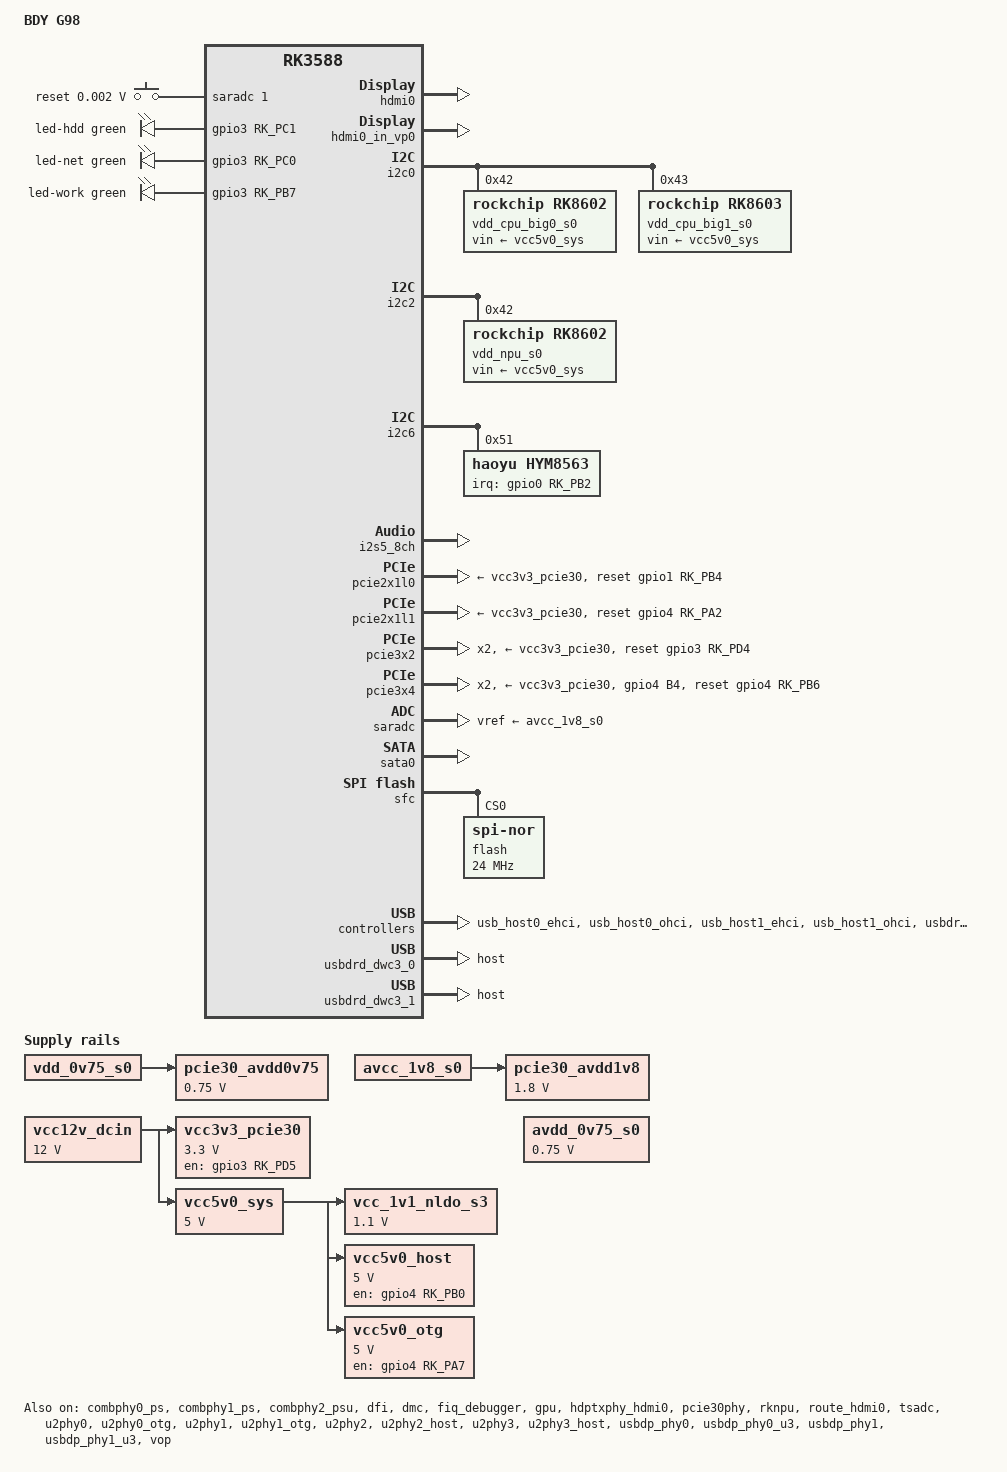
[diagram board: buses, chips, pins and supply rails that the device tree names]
// SPDX-License-Identifier: (GPL-2.0+ OR MIT)

/dts-v1/;

#include <dt-bindings/gpio/gpio.h>
#include <dt-bindings/input/input.h>
#include <dt-bindings/interrupt-controller/irq.h>
#include <dt-bindings/leds/common.h>
#include <dt-bindings/phy/phy-snps-pcie3.h>
#include <dt-bindings/pinctrl/rockchip.h>
#include "rk3588.dtsi"
#include "rk3588-rk806-single.dtsi"
#include "rk3588-linux.dtsi"

/ {
	model = "BDY G98";
	compatible = "bdy,g98", "rockchip,rk3588";

	/delete-node/ chosen;

	aliases {
		usbdp0 = &usbdp_phy0;
	};

	adc-keys {
		compatible = "adc-keys";
		io-channels = <&saradc 1>;
		io-channel-names = "buttons";
		keyup-threshold-microvolt = <1800000>;
		poll-interval = <100>;

		button-reset {
			label = "reset";
			linux,code = <KEY_RESTART>;
			press-threshold-microvolt = <1750>;
		};
	};

	hdmi0_sound: hdmi0-sound {
		compatible = "rockchip,hdmi";
		rockchip,card-name = "rockchip-hdmi0";
		rockchip,mclk-fs = <128>;
		rockchip,cpu = <&i2s5_8ch>;
		rockchip,codec = <&hdmi0>;
		rockchip,jack-det;
		status = "okay";
	};

	leds {
		compatible = "gpio-leds";

		led-hdd {
			color = <LED_COLOR_ID_GREEN>;
			default-state = "off";
			function = LED_FUNCTION_DISK;
			gpios = <&gpio3 RK_PC1 GPIO_ACTIVE_HIGH>;
		};

		led-net {
			color = <LED_COLOR_ID_GREEN>;
			default-state = "off";
			function = LED_FUNCTION_LAN;
			gpios = <&gpio3 RK_PC0 GPIO_ACTIVE_HIGH>;
		};

		led-work {
			color = <LED_COLOR_ID_GREEN>;
			function = LED_FUNCTION_HEARTBEAT;
			gpios = <&gpio3 RK_PB7 GPIO_ACTIVE_HIGH>;
			linux,default-trigger = "heartbeat";
		};
	};

	pcie30_avdd0v75: regulator-pcie30-avdd0v75 {
		compatible = "regulator-fixed";
		regulator-name = "pcie30_avdd0v75";
		regulator-always-on;
		regulator-boot-on;
		regulator-min-microvolt = <750000>;
		regulator-max-microvolt = <750000>;
		vin-supply = <&vdd_0v75_s0>;
	};

	pcie30_avdd1v8: regulator-pcie30-avdd1v8 {
		compatible = "regulator-fixed";
		regulator-name = "pcie30_avdd1v8";
		regulator-always-on;
		regulator-boot-on;
		regulator-min-microvolt = <1800000>;
		regulator-max-microvolt = <1800000>;
		vin-supply = <&avcc_1v8_s0>;
	};

	vcc_1v1_nldo_s3: regulator-vcc-1v1-nldo-s3 {
		compatible = "regulator-fixed";
		regulator-name = "vcc_1v1_nldo_s3";
		regulator-always-on;
		regulator-boot-on;
		regulator-min-microvolt = <1100000>;
		regulator-max-microvolt = <1100000>;
		vin-supply = <&vcc5v0_sys>;
	};

	vcc12v_dcin: regulator-vcc12v-dcin {
		compatible = "regulator-fixed";
		regulator-name = "vcc12v_dcin";
		regulator-always-on;
		regulator-boot-on;
		regulator-min-microvolt = <12000000>;
		regulator-max-microvolt = <12000000>;
	};

	vcc3v3_pcie30: regulator-vcc3v3-pcie30 {
		compatible = "regulator-fixed";
		regulator-name = "vcc3v3_pcie30";
		regulator-min-microvolt = <3300000>;
		regulator-max-microvolt = <3300000>;
		enable-active-high;
		gpio = <&gpio3 RK_PD5 GPIO_ACTIVE_HIGH>;
		pinctrl-names = "default";
		pinctrl-0 = <&pcie30_power_en>;
		startup-delay-us = <7500>;
		vin-supply = <&vcc12v_dcin>;
	};

	vcc5v0_host: regulator-vcc5v0-host {
		compatible = "regulator-fixed";
		regulator-name = "vcc5v0_host";
		regulator-always-on;
		regulator-boot-on;
		regulator-min-microvolt = <5000000>;
		regulator-max-microvolt = <5000000>;
		enable-active-high;
		gpio = <&gpio4 RK_PB0 GPIO_ACTIVE_HIGH>;
		pinctrl-names = "default";
		pinctrl-0 = <&vcc5v0_host_en>;
		vin-supply = <&vcc5v0_sys>;
	};

	vcc5v0_otg: regulator-vcc5v0-otg {
		compatible = "regulator-fixed";
		regulator-name = "vcc5v0_otg";
		regulator-min-microvolt = <5000000>;
		regulator-max-microvolt = <5000000>;
		enable-active-high;
		gpio = <&gpio4 RK_PA7 GPIO_ACTIVE_HIGH>;
		pinctrl-names = "default";
		pinctrl-0 = <&vcc5v0_otg_en>;
		vin-supply = <&vcc5v0_sys>;
	};

	vcc5v0_sys: regulator-vcc5v0-sys {
		compatible = "regulator-fixed";
		regulator-name = "vcc5v0_sys";
		regulator-always-on;
		regulator-boot-on;
		regulator-min-microvolt = <5000000>;
		regulator-max-microvolt = <5000000>;
		vin-supply = <&vcc12v_dcin>;
	};
};

&{/aliases} {
	/delete-property/ mmc0;
	/delete-property/ mmc1;
	/delete-property/ mmc2;
};

&{/reserved-memory/cma} {
	alloc-ranges = <0x1 0x00000000 0x3 0x00000000>;
	size = <0x0 0x20000000>;
};

&avdd_0v75_s0 {
	regulator-min-microvolt = <750000>;
	regulator-max-microvolt = <750000>;
};

&combphy0_ps {
	status = "okay";
};

&combphy1_ps {
	status = "okay";
};

&combphy2_psu {
	status = "okay";
};

&cpu_b0 {
	cpu-supply = <&vdd_cpu_big0_s0>;
	mem-supply = <&vdd_cpu_big0_mem_s0>;
};

&cpu_b2 {
	cpu-supply = <&vdd_cpu_big1_s0>;
	mem-supply = <&vdd_cpu_big1_mem_s0>;
};

&cpu_l0 {
	cpu-supply = <&vdd_cpu_lit_s0>;
	mem-supply = <&vdd_cpu_lit_mem_s0>;
};

&dfi {
	status = "okay";
};

&dmc {
	center-supply = <&vdd_ddr_s0>;
	mem-supply = <&vdd_log_s0>;
	status = "okay";
};

&fiq_debugger {
	status = "okay";
};

&gmac0 {
	status = "disabled";
};

&gmac1 {
	status = "disabled";
};

&gpu {
	mali-supply = <&vdd_gpu_s0>;
	mem-supply = <&vdd_gpu_mem_s0>;
	status = "okay";
};

&hdmi0 {
	cec-enable = "true";
	enable-gpios = <&gpio4 RK_PB1 GPIO_ACTIVE_HIGH>;
	status = "okay";
};

&hdmi0_in_vp0 {
	status = "okay";
};

&hdmi0_in_vp1 {
	status = "disabled";
};

&hdmi0_in_vp2 {
	status = "disabled";
};

&hdptxphy_hdmi0 {
	status = "okay";
};

&i2c0 {
	pinctrl-names = "default";
	pinctrl-0 = <&i2c0m2_xfer>;
	status = "okay";

	vdd_cpu_big0_s0: vdd_cpu_big0_mem_s0: rk8602@42 {
		compatible = "rockchip,rk8602";
		reg = <0x42>;
		vin-supply = <&vcc5v0_sys>;
		regulator-compatible = "rk860x-reg";
		regulator-name = "vdd_cpu_big0_s0";
		regulator-min-microvolt = <550000>;
		regulator-max-microvolt = <1050000>;
		regulator-ramp-delay = <2300>;
		rockchip,suspend-voltage-selector = <1>;
		regulator-always-on;
		regulator-boot-on;

		regulator-state-mem {
			regulator-off-in-suspend;
		};
	};

	vdd_cpu_big1_s0: vdd_cpu_big1_mem_s0: rk8603@43 {
		compatible = "rockchip,rk8603";
		reg = <0x43>;
		vin-supply = <&vcc5v0_sys>;
		regulator-compatible = "rk860x-reg";
		regulator-name = "vdd_cpu_big1_s0";
		regulator-min-microvolt = <550000>;
		regulator-max-microvolt = <1050000>;
		regulator-ramp-delay = <2300>;
		rockchip,suspend-voltage-selector = <1>;
		regulator-always-on;
		regulator-boot-on;

		regulator-state-mem {
			regulator-off-in-suspend;
		};
	};
};

&i2c2 {
	pinctrl-names = "default";
	pinctrl-0 = <&i2c2m0_xfer>;
	status = "okay";

	vdd_npu_s0: vdd_npu_mem_s0: rk8602@42 {
		compatible = "rockchip,rk8602";
		reg = <0x42>;
		vin-supply = <&vcc5v0_sys>;
		regulator-compatible = "rk860x-reg";
		regulator-name = "vdd_npu_s0";
		regulator-min-microvolt = <550000>;
		regulator-max-microvolt = <950000>;
		regulator-ramp-delay = <2300>;
		rockchip,suspend-voltage-selector = <1>;
		regulator-always-on;
		regulator-boot-on;

		regulator-state-mem {
			regulator-off-in-suspend;
		};
	};
};

&i2c6 {
	status = "okay";

	hym8563: rtc@51 {
		compatible = "haoyu,hym8563";
		reg = <0x51>;
		interrupt-parent = <&gpio0>;
		interrupts = <RK_PB2 IRQ_TYPE_LEVEL_LOW>;
		#clock-cells = <0>;
		clock-output-names = "hym8563";
		pinctrl-names = "default";
		pinctrl-0 = <&hym8563_int>;
		wakeup-source;
	};
};

&i2s5_8ch {
	status = "okay";
};

&mdio0 {
	status = "disabled";
};

&mdio1 {
	status = "disabled";
};

&pcie2x1l0 {
	reset-gpios = <&gpio1 RK_PB4 GPIO_ACTIVE_HIGH>;
	vpcie3v3-supply = <&vcc3v3_pcie30>;
	status = "okay";
};

&pcie2x1l1 {
	reset-gpios = <&gpio4 RK_PA2 GPIO_ACTIVE_HIGH>;
	vpcie3v3-supply = <&vcc3v3_pcie30>;
	status = "okay";
};

&pcie30phy {
	data-lanes = <1 1 2 2>;
	rockchip,pcie30-phymode = <PHY_MODE_PCIE_NANBNB>;
	status = "okay";
};

&pcie3x2 {
	num-lanes = <2>;
	reset-gpios = <&gpio3 RK_PD4 GPIO_ACTIVE_HIGH>;
	vpcie3v3-supply = <&vcc3v3_pcie30>;
	status = "okay";
};

&pcie3x4 {
	num-lanes = <2>;
	pinctrl-names = "default";
	pinctrl-0 = <&pcie30_clkreqn>;
	reset-gpios = <&gpio4 RK_PB6 GPIO_ACTIVE_HIGH>;
	vpcie3v3-supply = <&vcc3v3_pcie30>;
	status = "okay";
};

&pinctrl {
	pcie {
		pcie30_clkreqn: pcie30-clkreqn {
			rockchip,pins = <4 RK_PB4 RK_FUNC_GPIO &pcfg_pull_down>;
		};

		pcie30_power_en: pcie30-power-en {
			rockchip,pins = <3 RK_PD5 RK_FUNC_GPIO &pcfg_pull_down>;
		};
	};

	rtc {
		hym8563_int: hym8563-int {
			rockchip,pins = <0 RK_PB2 RK_FUNC_GPIO &pcfg_pull_up>;
		};
	};

	usb {
		vcc5v0_host_en: vcc5v0-host-en {
			rockchip,pins = <4 RK_PB0 RK_FUNC_GPIO &pcfg_pull_none>;
		};

		vcc5v0_otg_en: vcc5v0-otg-en {
			rockchip,pins = <4 RK_PA7 RK_FUNC_GPIO &pcfg_pull_none>;
		};
	};
};

&rknpu {
	mem-supply = <&vdd_npu_mem_s0>;
	rknpu-supply = <&vdd_npu_s0>;
	status = "okay";
};

&rknpu_mmu {
	status = "okay";
};

&route_hdmi0 {
	status = "okay";
};

&saradc {
	vref-supply = <&avcc_1v8_s0>;
	status = "okay";
};

&sata0 {
	status = "okay";
};

&sdhci {
	bus-width = <8>;
	mmc-hs400-1_8v;
	mmc-hs400-enhanced-strobe;
	no-sd;
	no-sdio;
	non-removable;
	status = "disabled";
};

&sfc {
	assigned-clocks = <&cru SCLK_SFC>;
	assigned-clock-rates = <24000000>;
	pinctrl-names = "default";
	pinctrl-0 = <&fspim0_pins>;
	status = "okay";

	flash@0 {
		compatible = "jedec,spi-nor";
		reg = <0>;
		spi-max-frequency = <24000000>;
		spi-rx-bus-width = <4>;
		spi-tx-bus-width = <1>;
		broken-flash-reset;
	};
};

&tsadc {
	status = "okay";
};

&u2phy0 {
	status = "okay";
};

&u2phy0_otg {
	phy-supply = <&vcc5v0_otg>;
	status = "okay";
};

&u2phy1 {
	status = "okay";
};

&u2phy1_otg {
	phy-supply = <&vcc5v0_host>;
	status = "okay";
};

&u2phy2 {
	status = "okay";
};

&u2phy2_host {
	phy-supply = <&vcc5v0_host>;
	status = "okay";
};

&u2phy3 {
	status = "okay";
};

&u2phy3_host {
	phy-supply = <&vcc5v0_host>;
	status = "okay";
};

&uart2 {
	status = "disabled";
};

&usb_host0_ehci {
	status = "okay";
};

&usb_host0_ohci {
	status = "okay";
};

&usb_host1_ehci {
	status = "okay";
};

&usb_host1_ohci {
	status = "okay";
};

&usbdrd3_0 {
	status = "okay";
};

&usbdrd3_1 {
	status = "okay";
};

&usbdrd_dwc3_0 {
	dr_mode = "host";
	maximum-speed = "super-speed";
	status = "okay";
};

&usbdrd_dwc3_1 {
	dr_mode = "host";
	maximum-speed = "super-speed";
	status = "okay";
};

&usbdp_phy0 {
	rockchip,dp-lane-mux = <2 3>;
	status = "okay";
};

&usbdp_phy0_u3 {
	status = "okay";
};

&usbdp_phy1 {
	rockchip,dp-lane-mux = <2 3>;
	status = "okay";
};

&usbdp_phy1_u3 {
	status = "okay";
};

&vdd_log_s0 {
	regulator-max-microvolt = <750000>;
};

&vop {
	vop-supply = <&vdd_log_s0>;
	status = "okay";
};

&vop_mmu {
	status = "okay";
};
